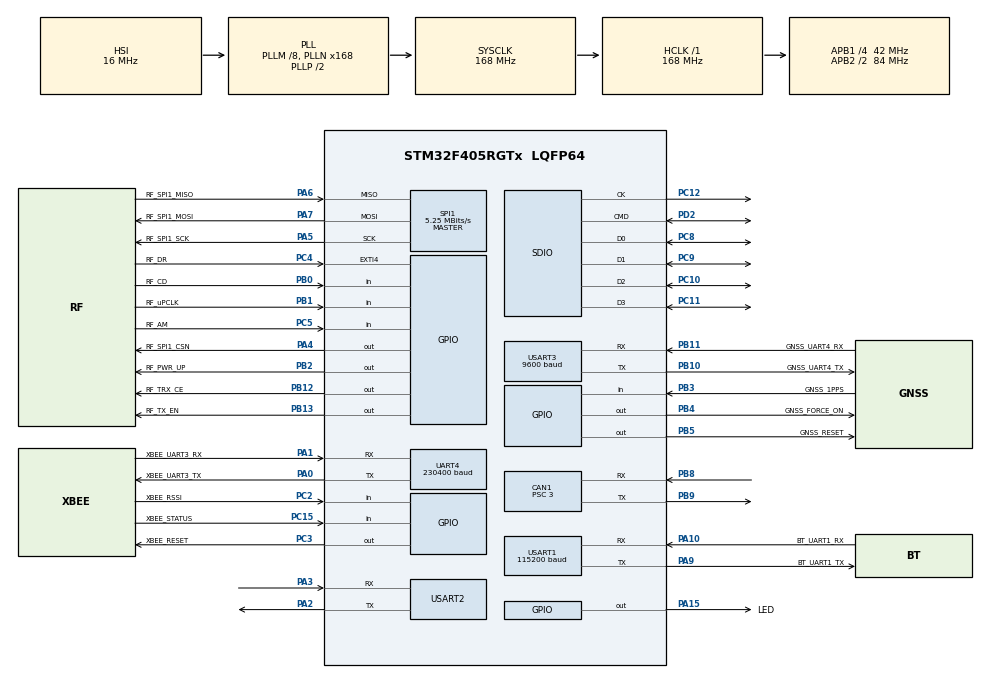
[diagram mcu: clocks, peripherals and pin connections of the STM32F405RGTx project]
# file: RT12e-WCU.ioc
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Dma.ADC1.4.FIFOMode=DMA_FIFOMODE_DISABLE
FREERTOS.Queues01=wcuEventQueue,128,SWcuEvent,0,Dynamic,NULL,NULL;canMessagesQueue,64,SCanMessage,0,Dynamic,NULL,NULL
NVIC.CAN1_RX1_IRQn=true\:5\:0\:false\:false\:true\:true\:true\:true
CAN1.NART=DISABLE
Dma.ADC1.4.Priority=DMA_PRIORITY_LOW
VP_SYS_VS_tim6.Mode=TIM6
SPI1.VirtualType=VM_MASTER
PB10.Mode=Asynchronous
VP_ADC1_TempSens_Input.Mode=IN-TempSens
NVIC.TIM6_DAC_IRQn=true\:0\:0\:false\:false\:true\:false\:false\:true
VP_FATFS_VS_SDIO.Mode=SDIO
NVIC.DMA1_Stream2_IRQn=true\:0\:0\:true\:false\:true\:false\:false\:true
PC12.Signal=SDIO_CK
Dma.SDIO_RX.1.Direction=DMA_PERIPH_TO_MEMORY
Dma.SDIO_RX.1.Priority=DMA_PRIORITY_LOW
PA6.GPIO_Label=RF_SPI1_MISO
PB13.Signal=GPIO_Output
Dma.ADC1.4.PeriphInc=DMA_PINC_DISABLE
PC15-OSC32_OUT.GPIO_Label=XBEE_STATUS
RCC.SYSCLKSource=RCC_SYSCLKSOURCE_PLLCLK
Dma.SDIO_RX.1.Instance=DMA2_Stream3
Dma.USART2_TX.6.Direction=DMA_MEMORY_TO_PERIPH
Dma.SDIO_TX.2.MemDataAlignment=DMA_MDATAALIGN_WORD
USART3.BaudRate=9600
SPI1.Direction=SPI_DIRECTION_2LINES
RCC.APB2TimFreq_Value=168000000
Dma.SDIO_RX.1.FIFOMode=DMA_FIFOMODE_ENABLE
SPI1.CalculateBaudRate=5.25 MBits/s
PC3.Signal=GPIO_Output
Dma.ADC1.4.Instance=DMA2_Stream4
FREERTOS.configMINIMAL_STACK_SIZE=128
NVIC.TIM1_TRG_COM_TIM11_IRQn=true\:5\:0\:false\:false\:true\:true\:true\:true
NVIC.TIM8_TRG_COM_TIM14_IRQn=true\:5\:0\:false\:false\:true\:true\:true\:true
PB2.Signal=GPIO_Output
CAN1.RFLM=DISABLE
PB12.GPIO_Label=RF_TRX_CE
Dma.UART4_TX.7.PeriphDataAlignment=DMA_PDATAALIGN_BYTE
PC4.GPIO_Label=RF_DR
PB1.GPIO_Label=RF_uPCLK
PC9.Mode=SD_4_bits_Wide_bus
VP_FREERTOS_VS_CMSIS_V1.Mode=CMSIS_V1
Dma.UART4_TX.7.MemInc=DMA_MINC_ENABLE
ADC1.SamplingTime-0\#ChannelRegularConversion=ADC_SAMPLETIME_3CYCLES
CAN1.Prescaler=3
Mcu.Package=LQFP64
PB9.Signal=CAN1_TX
PB1.Signal=GPIO_Input
FREERTOS.configUSE_NEWLIB_REENTRANT=0
CAN1.TTCM=DISABLE
Dma.USART2_TX.6.PeriphDataAlignment=DMA_PDATAALIGN_BYTE
NVIC.TimeBase=TIM6_DAC_IRQn
NVIC.TimeBaseIP=TIM6
PA10.Signal=USART1_RX
Dma.ADC1.4.MemInc=DMA_MINC_ENABLE
PC11.Mode=SD_4_bits_Wide_bus
RCC.APB2CLKDivider=RCC_HCLK_DIV2
NVIC.DMA2_Stream2_IRQn=true\:0\:0\:true\:false\:true\:false\:false\:true
RCC.APB1TimFreq_Value=84000000
FREERTOS.configGENERATE_RUN_TIME_STATS=0
VP_TIM14_VS_ClockSourceINT.Mode=Enable_Timer
NVIC.USART1_IRQn=true\:5\:0\:true\:false\:true\:true\:true\:true
NVIC.DMA1_Stream6_IRQn=true\:5\:0\:false\:false\:true\:true\:false\:true
CAN1.CalculateTimeBit=999.99
PA4.GPIO_Label=RF_SPI1_CSN
Dma.SDIO_TX.2.FIFOThreshold=DMA_FIFO_THRESHOLD_FULL
Dma.UART4_RX.3.MemInc=DMA_MINC_ENABLE
CAN1.CalculateTimeQuantum=71.42857142857143
NVIC.UART4_IRQn=true\:5\:0\:true\:false\:true\:true\:true\:true
PA5.Mode=Full_Duplex_Master
Dma.USART2_TX.6.MemInc=DMA_MINC_ENABLE
Dma.SDIO_TX.2.MemInc=DMA_MINC_ENABLE
NVIC.EXTI4_IRQn=true\:5\:0\:true\:false\:true\:true\:true\:true
FREERTOS.Tasks01=EventDispatcher,0,8192,WcuEventDispatcherEntryPoint,As weak,NULL,Dynamic,NULL,NULL
ADC1.Rank-0\#ChannelRegularConversion=1
Dma.UART4_RX.3.PeriphInc=DMA_PINC_DISABLE
PA9.GPIO_Label=BT_UART1_TX
FREERTOS.configCHECK_FOR_STACK_OVERFLOW=0
CAN1.CalculateBaudRate=1000000
PC2.Signal=GPIO_Input
PB11.GPIO_Label=GNSS_UART4_RX
TIM11.Prescaler=419
Dma.UART4_TX.7.MemDataAlignment=DMA_MDATAALIGN_BYTE
RCC.APB1CLKDivider=RCC_HCLK_DIV4
UART4.VirtualMode=Asynchronous
PA0-WKUP.GPIO_Label=XBEE_UART3_TX
PA0-WKUP.Signal=UART4_TX
PA0-WKUP.Mode=Asynchronous
PA3.Mode=Asynchronous
PB11.Mode=Asynchronous
Dma.USART1_RX.0.Direction=DMA_PERIPH_TO_MEMORY
PA9.Signal=USART1_TX
Dma.SDIO_TX.2.PeriphDataAlignment=DMA_PDATAALIGN_WORD
SDIO.ClockDiv=4
NVIC.DMA2_Stream6_IRQn=true\:5\:0\:true\:false\:true\:true\:false\:true
Dma.USART3_RX.5.PeriphInc=DMA_PINC_DISABLE
Dma.USART1_RX.0.PeriphInc=DMA_PINC_DISABLE
PB10.Signal=USART3_TX
Dma.SDIO_RX.1.FIFOThreshold=DMA_FIFO_THRESHOLD_FULL
PA5.Signal=SPI1_SCK
PC12.Mode=SD_4_bits_Wide_bus
Dma.SDIO_RX.1.MemBurst=DMA_MBURST_INC4
TIM13.Period=39999
VP_TIM13_VS_ClockSourceINT.Mode=Enable_Timer
PA1.Mode=Asynchronous
PB4.GPIO_Label=GNSS_FORCE_ON
TIM13.Prescaler=4199
SPI1.Mode=SPI_MODE_MASTER
PA1.GPIO_Label=XBEE_UART3_RX
Dma.UART4_RX.3.Instance=DMA1_Stream2
Dma.ADC1.4.Mode=DMA_NORMAL
ADC1.DMAContinuousRequests=ENABLE
PA13.Mode=Serial_Wire
Dma.ADC1.4.MemDataAlignment=DMA_MDATAALIGN_HALFWORD
NVIC.DMA2_Stream4_IRQn=true\:5\:0\:true\:false\:true\:true\:false\:true
TIM14.Prescaler=27999
Dma.SDIO_TX.2.Priority=DMA_PRIORITY_LOW
CAN1.SJW=CAN_SJW_1TQ
PC8.Mode=SD_4_bits_Wide_bus
PA4.Signal=GPIO_Output
PB5.Signal=GPIO_Output
ADC1.master=1
Dma.USART2_TX.6.PeriphInc=DMA_PINC_DISABLE
PA5.GPIO_Label=RF_SPI1_SCK
USART1.VirtualMode=VM_ASYNC
Dma.SDIO_TX.2.MemBurst=DMA_MBURST_INC4
ProjectManager.HeapSize=0x200
Dma.SDIO_RX.1.MemInc=DMA_MINC_ENABLE
Dma.UART4_TX.7.Instance=DMA1_Stream4
NVIC.TIM8_UP_TIM13_IRQn=true\:5\:0\:false\:false\:true\:true\:true\:true
NVIC.PriorityGroup=NVIC_PRIORITYGROUP_4
Dma.USART2_TX.6.Priority=DMA_PRIORITY_LOW
PB8.Mode=CAN_Activate
PC3.GPIO_Label=XBEE_RESET
Dma.SDIO_TX.2.PeriphInc=DMA_PINC_DISABLE
PD2.Signal=SDIO_CMD
Dma.UART4_TX.7.FIFOMode=DMA_FIFOMODE_DISABLE
PB0.Signal=GPIO_Input
NVIC.CAN1_RX0_IRQn=true\:5\:0\:false\:false\:true\:true\:true\:true
Mcu.Family=STM32F4
NVIC.USART3_IRQn=true\:5\:0\:true\:false\:true\:true\:true\:true
Dma.UART4_RX.3.Priority=DMA_PRIORITY_LOW
Dma.UART4_RX.3.FIFOMode=DMA_FIFOMODE_DISABLE
Dma.USART3_RX.5.PeriphDataAlignment=DMA_PDATAALIGN_BYTE
PA6.Mode=Full_Duplex_Master
RCC.CortexFreq_Value=168000000
Dma.SDIO_RX.1.PeriphDataAlignment=DMA_PDATAALIGN_WORD
CAN1.AWUM=DISABLE
USART1.BaudRate=115200
PC10.Signal=SDIO_D2
VP_IWDG_VS_IWDG.Mode=IWDG_Activate
Dma.SDIO_RX.1.Mode=DMA_PFCTRL
Dma.UART4_RX.3.PeriphDataAlignment=DMA_PDATAALIGN_BYTE
PB0.GPIO_Label=RF_CD
Dma.UART4_RX.3.Mode=DMA_CIRCULAR
PB13.GPIO_Label=RF_TX_EN
PB11.Signal=USART3_RX
NVIC.DMA1_Stream4_IRQn=true\:5\:0\:false\:false\:true\:true\:false\:true
ProjectManager.StackSize=0x400
Dma.UART4_RX.3.Direction=DMA_PERIPH_TO_MEMORY
Dma.SDIO_TX.2.Mode=DMA_PFCTRL
VP_TIM7_VS_ClockSourceINT.Mode=Enable_Timer
Dma.USART3_RX.5.MemInc=DMA_MINC_ENABLE
NVIC.ADC_IRQn=true\:5\:0\:true\:false\:true\:true\:true\:true
PA15.GPIO_Label=LED
Dma.USART2_TX.6.MemDataAlignment=DMA_MDATAALIGN_BYTE
FREERTOS.configUSE_STATS_FORMATTING_FUNCTIONS=0
UART4.BaudRate=230400
RCC.HCLKFreq_Value=168000000
TIM7.Period=39999
NVIC.CAN1_SCE_IRQn=true\:5\:0\:false\:false\:true\:true\:true\:true
RCC.AHBFreq_Value=168000000
Dma.USART1_RX.0.Priority=DMA_PRIORITY_LOW
ADC1.Channel-0\#ChannelRegularConversion=ADC_CHANNEL_TEMPSENSOR
RCC.HSE_VALUE=25000000
TIM14.Period=59999
PA14.Mode=Serial_Wire
PA10.GPIO_Label=BT_UART1_RX
Dma.SDIO_TX.2.Direction=DMA_MEMORY_TO_PERIPH
Dma.USART1_RX.0.MemInc=DMA_MINC_ENABLE
FREERTOS.configTOTAL_HEAP_SIZE=65536
PA6.Signal=SPI1_MISO
USART2.VirtualMode=VM_ASYNC
Dma.USART3_RX.5.Priority=DMA_PRIORITY_LOW
Dma.SDIO_TX.2.PeriphBurst=DMA_PBURST_INC4
PA15.Signal=GPIO_Output
Dma.SDIO_RX.1.PeriphBurst=DMA_PBURST_INC4
Dma.USART2_TX.6.Mode=DMA_NORMAL
Dma.USART1_RX.0.FIFOMode=DMA_FIFOMODE_DISABLE
PB5.GPIO_Label=GNSS_RESET
Dma.Request2=SDIO_TX
Dma.Request1=SDIO_RX
Dma.Request4=ADC1
Dma.UART4_TX.7.PeriphInc=DMA_PINC_DISABLE
Dma.Request3=UART4_RX
Dma.Request6=USART2_TX
Dma.USART1_RX.0.Mode=DMA_CIRCULAR
Dma.Request5=USART3_RX
PC5.Signal=GPIO_Input
Dma.Request7=UART4_TX
Dma.Request0=USART1_RX
SPI1.BaudRatePrescaler=SPI_BAUDRATEPRESCALER_16
PB4.PinState=GPIO_PIN_SET
PC2.GPIO_Label=XBEE_RSSI
Dma.USART1_RX.0.Instance=DMA2_Stream2
NVIC.TIM7_IRQn=true\:5\:0\:true\:false\:true\:true\:true\:true
PB4.Signal=GPIO_Output
PA3.Signal=USART2_RX
PB3.GPIO_Label=GNSS_1PPS
Dma.UART4_TX.7.Mode=DMA_NORMAL
PA7.Mode=Full_Duplex_Master
Dma.USART1_RX.0.PeriphDataAlignment=DMA_PDATAALIGN_BYTE
PA10.Mode=Asynchronous
PC11.Signal=SDIO_D3
PC8.Signal=SDIO_D0
PC4.Signal=GPXTI4
PC10.Mode=SD_4_bits_Wide_bus
Dma.ADC1.4.PeriphDataAlignment=DMA_PDATAALIGN_HALFWORD
Dma.USART3_RX.5.Instance=DMA1_Stream1
Dma.SDIO_TX.2.Instance=DMA2_Stream6
NVIC.DMA1_Stream1_IRQn=true\:0\:0\:true\:false\:true\:false\:false\:true
Dma.UART4_RX.3.MemDataAlignment=DMA_MDATAALIGN_BYTE
NVIC.USART2_IRQn=true\:5\:0\:false\:false\:true\:true\:true\:true
NVIC.SDIO_IRQn=true\:5\:0\:true\:false\:true\:true\:true\:true
VP_TIM11_VS_ClockSourceINT.Mode=Enable_Timer
Dma.SDIO_RX.1.PeriphInc=DMA_PINC_DISABLE
PA13.Signal=SYS_JTMS-SWDIO
Dma.USART2_TX.6.FIFOMode=DMA_FIFOMODE_DISABLE
PA9.Mode=Asynchronous
Dma.UART4_TX.7.Priority=DMA_PRIORITY_LOW
PA4.PinState=GPIO_PIN_SET
CAN1.BS2=CAN_BS2_2TQ
CAN1.BS1=CAN_BS1_11TQ
ProjectManager.TargetToolchain=STM32CubeIDE
PB10.GPIO_Label=GNSS_UART4_TX
Dma.USART3_RX.5.FIFOMode=DMA_FIFOMODE_DISABLE
PB9.Mode=CAN_Activate
NVIC.DMA2_Stream3_IRQn=true\:5\:0\:true\:false\:true\:true\:false\:true
RCC.LSE_VALUE=32768
PC15-OSC32_OUT.Signal=GPIO_Input
PA1.Signal=UART4_RX
CAN1.ABOM=DISABLE
Dma.SDIO_RX.1.MemDataAlignment=DMA_MDATAALIGN_WORD
PD2.Mode=SD_4_bits_Wide_bus
TIM7.Prescaler=4199
board=custom
Dma.USART3_RX.5.Direction=DMA_PERIPH_TO_MEMORY
RCC.VCOOutputFreq_Value=336000000
TIM11.Period=39999
RCC.APB2Freq_Value=84000000
Dma.USART1_RX.0.MemDataAlignment=DMA_MDATAALIGN_BYTE
Dma.USART2_TX.6.Instance=DMA1_Stream6
Mcu.Name=STM32F405RGTx
PB2.PinState=GPIO_PIN_RESET
PA2.Signal=USART2_TX
FATFS._MAX_SS=4096
RCC.48MHZClocksFreq_Value=48000000
PB3.Signal=GPIO_Input
RCC.SYSCLKFreq_VALUE=168000000
PA7.GPIO_Label=RF_SPI1_MOSI
PC5.GPIO_Label=RF_AM
USART3.VirtualMode=VM_ASYNC
PA14.Signal=SYS_JTCK-SWCLK
PB2.GPIO_Label=RF_PWR_UP
Dma.USART3_RX.5.Mode=DMA_CIRCULAR
Dma.SDIO_TX.2.FIFOMode=DMA_FIFOMODE_ENABLE
Dma.ADC1.4.Direction=DMA_PERIPH_TO_MEMORY
RCC.HSI_VALUE=16000000
RCC.PLLQ=7
ADC1.NbrOfConversionFlag=1
Dma.UART4_TX.7.Direction=DMA_MEMORY_TO_PERIPH
RCC.PLLM=8
RCC.PLLN=168
IWDG.Prescaler=IWDG_PRESCALER_256
PA2.Mode=Asynchronous
PB8.Signal=CAN1_RX
Dma.USART3_RX.5.MemDataAlignment=DMA_MDATAALIGN_BYTE
PC9.Signal=SDIO_D1
RCC.APB1Freq_Value=42000000
VP_CRC_VS_CRC.Mode=CRC_Activate
PB12.Signal=GPIO_Output
PA7.Signal=SPI1_MOSI

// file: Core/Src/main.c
/* USER CODE BEGIN Header */
/**
 ******************************************************************************
 * @file           : main.c
 * @brief          : Main program body
 ******************************************************************************
 * @attention
 *
 * <h2><center>&copy; Copyright (c) 2020 STMicroelectronics.
 * All rights reserved.</center></h2>
 *
 * This software component is licensed by ST under BSD 3-Clause license,
 * the "License"; You may not use this file except in compliance with the
 * License. You may obtain a copy of the License at:
 *                        opensource.org/licenses/BSD-3-Clause
 *
 ******************************************************************************
 */
/* USER CODE END Header */
#include "main.h"
#include "cmsis_os.h"
#include "fatfs.h"

/* USER CODE BEGIN Includes */

#include "wcu_defs.h"
#include "wcu_events.h"
#include "wcu_can.h"

/* USER CODE END Includes */

ADC_HandleTypeDef hadc1;
DMA_HandleTypeDef hdma_adc1;

CAN_HandleTypeDef hcan1;

CRC_HandleTypeDef hcrc;

IWDG_HandleTypeDef hiwdg;

SD_HandleTypeDef hsd;
DMA_HandleTypeDef hdma_sdio_rx;
DMA_HandleTypeDef hdma_sdio_tx;

SPI_HandleTypeDef hspi1;

TIM_HandleTypeDef htim7;
TIM_HandleTypeDef htim11;
TIM_HandleTypeDef htim13;
TIM_HandleTypeDef htim14;

UART_HandleTypeDef huart4;
UART_HandleTypeDef huart1;
UART_HandleTypeDef huart2;
UART_HandleTypeDef huart3;
DMA_HandleTypeDef hdma_uart4_rx;
DMA_HandleTypeDef hdma_uart4_tx;
DMA_HandleTypeDef hdma_usart1_rx;
DMA_HandleTypeDef hdma_usart2_tx;
DMA_HandleTypeDef hdma_usart3_rx;

osThreadId EventDispatcherHandle;
osMessageQId wcuEventQueueHandle;
osMessageQId canMessagesQueueHandle;

void SystemClock_Config(void);
static void MX_GPIO_Init(void);
static void MX_DMA_Init(void);
static void MX_CAN1_Init(void);
static void MX_CRC_Init(void);
static void MX_IWDG_Init(void);
static void MX_SDIO_SD_Init(void);
static void MX_SPI1_Init(void);
static void MX_UART4_Init(void);
static void MX_USART1_UART_Init(void);
static void MX_USART2_UART_Init(void);
static void MX_USART3_UART_Init(void);
static void MX_ADC1_Init(void);
static void MX_TIM7_Init(void);
static void MX_TIM11_Init(void);
static void MX_TIM13_Init(void);
static void MX_TIM14_Init(void);
void WcuEventDispatcherEntryPoint(void const *argument);

int main(void) {

	/* MCU Configuration--------------------------------------------------------*/

	/* Reset of all peripherals, Initializes the Flash interface and the Systick. */
	HAL_Init();

	/* Configure the system clock */
	SystemClock_Config();

	/* Initialize all configured peripherals */
	MX_GPIO_Init();
	MX_DMA_Init();
	MX_CAN1_Init();
	MX_CRC_Init();
	MX_IWDG_Init();
	MX_SDIO_SD_Init();
	MX_SPI1_Init();
	MX_UART4_Init();
	MX_USART1_UART_Init();
	MX_USART2_UART_Init();
	MX_USART3_UART_Init();
	MX_FATFS_Init();
	MX_ADC1_Init();
	MX_TIM7_Init();
	MX_TIM11_Init();
	MX_TIM13_Init();
	MX_TIM14_Init();

	/* Create the queue(s) */
	/* definition and creation of wcuEventQueue */
	osMessageQDef(wcuEventQueue, 128, SWcuEvent);
	wcuEventQueueHandle = osMessageCreate(osMessageQ(wcuEventQueue), NULL);

	/* definition and creation of canMessagesQueue */
	osMessageQDef(canMessagesQueue, 64, SCanMessage);
	canMessagesQueueHandle = osMessageCreate(osMessageQ(canMessagesQueue),
			NULL);

	/* Create the thread(s) */
	/* definition and creation of EventDispatcher */
	osThreadDef(EventDispatcher, WcuEventDispatcherEntryPoint, osPriorityNormal,
			0, 8192);
	EventDispatcherHandle = osThreadCreate(osThread(EventDispatcher), NULL);

	/* Start scheduler */
	osKernelStart();

	/* We should never get here as control is now taken by the scheduler */
	/* Infinite loop */
	while (1) {

	}
}

void SystemClock_Config(void) {
	RCC_OscInitTypeDef RCC_OscInitStruct = { 0 };
	RCC_ClkInitTypeDef RCC_ClkInitStruct = { 0 };

	/** Configure the main internal regulator output voltage
	 */
	__HAL_RCC_PWR_CLK_ENABLE();
	__HAL_PWR_VOLTAGESCALING_CONFIG(PWR_REGULATOR_VOLTAGE_SCALE1);
	/** Initializes the RCC Oscillators according to the specified parameters
	 * in the RCC_OscInitTypeDef structure.
	 */
	RCC_OscInitStruct.OscillatorType = RCC_OSCILLATORTYPE_HSI
			| RCC_OSCILLATORTYPE_LSI;
	RCC_OscInitStruct.HSIState = RCC_HSI_ON;
	RCC_OscInitStruct.HSICalibrationValue = RCC_HSICALIBRATION_DEFAULT;
	RCC_OscInitStruct.LSIState = RCC_LSI_ON;
	RCC_OscInitStruct.PLL.PLLState = RCC_PLL_ON;
	RCC_OscInitStruct.PLL.PLLSource = RCC_PLLSOURCE_HSI;
	RCC_OscInitStruct.PLL.PLLM = 8;
	RCC_OscInitStruct.PLL.PLLN = 168;
	RCC_OscInitStruct.PLL.PLLP = RCC_PLLP_DIV2;
	RCC_OscInitStruct.PLL.PLLQ = 7;
	if (HAL_RCC_OscConfig(&RCC_OscInitStruct) != HAL_OK) {
		Error_Handler();
	}
	/** Initializes the CPU, AHB and APB buses clocks
	 */
	RCC_ClkInitStruct.ClockType = RCC_CLOCKTYPE_HCLK | RCC_CLOCKTYPE_SYSCLK
			| RCC_CLOCKTYPE_PCLK1 | RCC_CLOCKTYPE_PCLK2;
	RCC_ClkInitStruct.SYSCLKSource = RCC_SYSCLKSOURCE_PLLCLK;
	RCC_ClkInitStruct.AHBCLKDivider = RCC_SYSCLK_DIV1;
	RCC_ClkInitStruct.APB1CLKDivider = RCC_HCLK_DIV4;
	RCC_ClkInitStruct.APB2CLKDivider = RCC_HCLK_DIV2;

	if (HAL_RCC_ClockConfig(&RCC_ClkInitStruct, FLASH_LATENCY_5) != HAL_OK) {
		Error_Handler();
	}
}

static void MX_ADC1_Init(void) {

	ADC_ChannelConfTypeDef sConfig = { 0 };

	/** Configure the global features of the ADC (Clock, Resolution, Data Alignment and number of conversion)
	 */
	hadc1.Instance = ADC1;
	hadc1.Init.ClockPrescaler = ADC_CLOCK_SYNC_PCLK_DIV4;
	hadc1.Init.Resolution = ADC_RESOLUTION_12B;
	hadc1.Init.ScanConvMode = DISABLE;
	hadc1.Init.ContinuousConvMode = DISABLE;
	hadc1.Init.DiscontinuousConvMode = DISABLE;
	hadc1.Init.ExternalTrigConvEdge = ADC_EXTERNALTRIGCONVEDGE_NONE;
	hadc1.Init.ExternalTrigConv = ADC_SOFTWARE_START;
	hadc1.Init.DataAlign = ADC_DATAALIGN_RIGHT;
	hadc1.Init.NbrOfConversion = 1;
	hadc1.Init.DMAContinuousRequests = ENABLE;
	hadc1.Init.EOCSelection = ADC_EOC_SINGLE_CONV;
	if (HAL_ADC_Init(&hadc1) != HAL_OK) {
		Error_Handler();
	}
	/** Configure for the selected ADC regular channel its corresponding rank in the sequencer and its sample time.
	 */
	sConfig.Channel = ADC_CHANNEL_TEMPSENSOR;
	sConfig.Rank = 1;
	sConfig.SamplingTime = ADC_SAMPLETIME_3CYCLES;
	if (HAL_ADC_ConfigChannel(&hadc1, &sConfig) != HAL_OK) {
		Error_Handler();
	}

}

static void MX_CAN1_Init(void) {

	hcan1.Instance = CAN1;
	hcan1.Init.Prescaler = 3;
	hcan1.Init.Mode = CAN_MODE_NORMAL;
	hcan1.Init.SyncJumpWidth = CAN_SJW_1TQ;
	hcan1.Init.TimeSeg1 = CAN_BS1_11TQ;
	hcan1.Init.TimeSeg2 = CAN_BS2_2TQ;
	hcan1.Init.TimeTriggeredMode = DISABLE;
	hcan1.Init.AutoBusOff = DISABLE;
	hcan1.Init.AutoWakeUp = DISABLE;
	hcan1.Init.AutoRetransmission = DISABLE;
	hcan1.Init.ReceiveFifoLocked = DISABLE;
	hcan1.Init.TransmitFifoPriority = DISABLE;
	if (HAL_CAN_Init(&hcan1) != HAL_OK) {
		Error_Handler();
	}

}

static void MX_CRC_Init(void) {

	hcrc.Instance = CRC;
	if (HAL_CRC_Init(&hcrc) != HAL_OK) {
		Error_Handler();
	}

}

static void MX_IWDG_Init(void) {

	hiwdg.Instance = IWDG;
	hiwdg.Init.Prescaler = IWDG_PRESCALER_256;
	hiwdg.Init.Reload = 4095;
	if (HAL_IWDG_Init(&hiwdg) != HAL_OK) {
		Error_Handler();
	}

}

static void MX_SDIO_SD_Init(void) {

	hsd.Instance = SDIO;
	hsd.Init.ClockEdge = SDIO_CLOCK_EDGE_RISING;
	hsd.Init.ClockBypass = SDIO_CLOCK_BYPASS_DISABLE;
	hsd.Init.ClockPowerSave = SDIO_CLOCK_POWER_SAVE_DISABLE;
	hsd.Init.BusWide = SDIO_BUS_WIDE_1B;
	hsd.Init.HardwareFlowControl = SDIO_HARDWARE_FLOW_CONTROL_DISABLE;
	hsd.Init.ClockDiv = 4;

}

static void MX_SPI1_Init(void) {

	/* SPI1 parameter configuration*/
	hspi1.Instance = SPI1;
	hspi1.Init.Mode = SPI_MODE_MASTER;
	hspi1.Init.Direction = SPI_DIRECTION_2LINES;
	hspi1.Init.DataSize = SPI_DATASIZE_8BIT;
	hspi1.Init.CLKPolarity = SPI_POLARITY_LOW;
	hspi1.Init.CLKPhase = SPI_PHASE_1EDGE;
	hspi1.Init.NSS = SPI_NSS_SOFT;
	hspi1.Init.BaudRatePrescaler = SPI_BAUDRATEPRESCALER_16;
	hspi1.Init.FirstBit = SPI_FIRSTBIT_MSB;
	hspi1.Init.TIMode = SPI_TIMODE_DISABLE;
	hspi1.Init.CRCCalculation = SPI_CRCCALCULATION_DISABLE;
	hspi1.Init.CRCPolynomial = 10;
	if (HAL_SPI_Init(&hspi1) != HAL_OK) {
		Error_Handler();
	}

}

static void MX_TIM7_Init(void) {

	TIM_MasterConfigTypeDef sMasterConfig = { 0 };

	htim7.Instance = TIM7;
	htim7.Init.Prescaler = 4199;
	htim7.Init.CounterMode = TIM_COUNTERMODE_UP;
	htim7.Init.Period = 39999;
	htim7.Init.AutoReloadPreload = TIM_AUTORELOAD_PRELOAD_DISABLE;
	if (HAL_TIM_Base_Init(&htim7) != HAL_OK) {
		Error_Handler();
	}
	sMasterConfig.MasterOutputTrigger = TIM_TRGO_RESET;
	sMasterConfig.MasterSlaveMode = TIM_MASTERSLAVEMODE_DISABLE;
	if (HAL_TIMEx_MasterConfigSynchronization(&htim7, &sMasterConfig)
			!= HAL_OK) {
		Error_Handler();
	}

}

static void MX_TIM11_Init(void) {

	htim11.Instance = TIM11;
	htim11.Init.Prescaler = 419;
	htim11.Init.CounterMode = TIM_COUNTERMODE_UP;
	htim11.Init.Period = 39999;
	htim11.Init.ClockDivision = TIM_CLOCKDIVISION_DIV1;
	htim11.Init.AutoReloadPreload = TIM_AUTORELOAD_PRELOAD_DISABLE;
	if (HAL_TIM_Base_Init(&htim11) != HAL_OK) {
		Error_Handler();
	}

}

static void MX_TIM13_Init(void) {

	htim13.Instance = TIM13;
	htim13.Init.Prescaler = 4199;
	htim13.Init.CounterMode = TIM_COUNTERMODE_UP;
	htim13.Init.Period = 39999;
	htim13.Init.ClockDivision = TIM_CLOCKDIVISION_DIV1;
	htim13.Init.AutoReloadPreload = TIM_AUTORELOAD_PRELOAD_DISABLE;
	if (HAL_TIM_Base_Init(&htim13) != HAL_OK) {
		Error_Handler();
	}

}

static void MX_TIM14_Init(void) {

	htim14.Instance = TIM14;
	htim14.Init.Prescaler = 27999;
	htim14.Init.CounterMode = TIM_COUNTERMODE_UP;
	htim14.Init.Period = 59999;
	htim14.Init.ClockDivision = TIM_CLOCKDIVISION_DIV1;
	htim14.Init.AutoReloadPreload = TIM_AUTORELOAD_PRELOAD_DISABLE;
	if (HAL_TIM_Base_Init(&htim14) != HAL_OK) {
		Error_Handler();
	}

}

static void MX_UART4_Init(void) {

	huart4.Instance = UART4;
	huart4.Init.BaudRate = 230400;
	huart4.Init.WordLength = UART_WORDLENGTH_8B;
	huart4.Init.StopBits = UART_STOPBITS_1;
	huart4.Init.Parity = UART_PARITY_NONE;
	huart4.Init.Mode = UART_MODE_TX_RX;
	huart4.Init.HwFlowCtl = UART_HWCONTROL_NONE;
	huart4.Init.OverSampling = UART_OVERSAMPLING_16;
	if (HAL_UART_Init(&huart4) != HAL_OK) {
		Error_Handler();
	}

}

static void MX_USART1_UART_Init(void) {

	huart1.Instance = USART1;
	huart1.Init.BaudRate = 115200;
	huart1.Init.WordLength = UART_WORDLENGTH_8B;
	huart1.Init.StopBits = UART_STOPBITS_1;
	huart1.Init.Parity = UART_PARITY_NONE;
	huart1.Init.Mode = UART_MODE_TX_RX;
	huart1.Init.HwFlowCtl = UART_HWCONTROL_NONE;
	huart1.Init.OverSampling = UART_OVERSAMPLING_16;
	if (HAL_UART_Init(&huart1) != HAL_OK) {
		Error_Handler();
	}

}

static void MX_USART2_UART_Init(void) {

	huart2.Instance = USART2;
	huart2.Init.BaudRate = 115200;
	huart2.Init.WordLength = UART_WORDLENGTH_8B;
	huart2.Init.StopBits = UART_STOPBITS_1;
	huart2.Init.Parity = UART_PARITY_NONE;
	huart2.Init.Mode = UART_MODE_TX_RX;
	huart2.Init.HwFlowCtl = UART_HWCONTROL_NONE;
	huart2.Init.OverSampling = UART_OVERSAMPLING_16;
	if (HAL_UART_Init(&huart2) != HAL_OK) {
		Error_Handler();
	}

}

static void MX_USART3_UART_Init(void) {

	huart3.Instance = USART3;
	huart3.Init.BaudRate = 9600;
	huart3.Init.WordLength = UART_WORDLENGTH_8B;
	huart3.Init.StopBits = UART_STOPBITS_1;
	huart3.Init.Parity = UART_PARITY_NONE;
	huart3.Init.Mode = UART_MODE_TX_RX;
	huart3.Init.HwFlowCtl = UART_HWCONTROL_NONE;
	huart3.Init.OverSampling = UART_OVERSAMPLING_16;
	if (HAL_UART_Init(&huart3) != HAL_OK) {
		Error_Handler();
	}

}

static void MX_DMA_Init(void) {

	/* DMA controller clock enable */
	__HAL_RCC_DMA2_CLK_ENABLE();
	__HAL_RCC_DMA1_CLK_ENABLE();

	/* DMA interrupt init */
	/* DMA1_Stream1_IRQn interrupt configuration */
	HAL_NVIC_SetPriority(DMA1_Stream1_IRQn, 0, 0);
	HAL_NVIC_EnableIRQ(DMA1_Stream1_IRQn);
	/* DMA1_Stream2_IRQn interrupt configuration */
	HAL_NVIC_SetPriority(DMA1_Stream2_IRQn, 0, 0);
	HAL_NVIC_EnableIRQ(DMA1_Stream2_IRQn);
	/* DMA1_Stream4_IRQn interrupt configuration */
	HAL_NVIC_SetPriority(DMA1_Stream4_IRQn, 5, 0);
	HAL_NVIC_EnableIRQ(DMA1_Stream4_IRQn);
	/* DMA1_Stream6_IRQn interrupt configuration */
	HAL_NVIC_SetPriority(DMA1_Stream6_IRQn, 5, 0);
	HAL_NVIC_EnableIRQ(DMA1_Stream6_IRQn);
	/* DMA2_Stream2_IRQn interrupt configuration */
	HAL_NVIC_SetPriority(DMA2_Stream2_IRQn, 0, 0);
	HAL_NVIC_EnableIRQ(DMA2_Stream2_IRQn);
	/* DMA2_Stream3_IRQn interrupt configuration */
	HAL_NVIC_SetPriority(DMA2_Stream3_IRQn, 5, 0);
	HAL_NVIC_EnableIRQ(DMA2_Stream3_IRQn);
	/* DMA2_Stream4_IRQn interrupt configuration */
	HAL_NVIC_SetPriority(DMA2_Stream4_IRQn, 5, 0);
	HAL_NVIC_EnableIRQ(DMA2_Stream4_IRQn);
	/* DMA2_Stream6_IRQn interrupt configuration */
	HAL_NVIC_SetPriority(DMA2_Stream6_IRQn, 5, 0);
	HAL_NVIC_EnableIRQ(DMA2_Stream6_IRQn);

}

static void MX_GPIO_Init(void) {
	GPIO_InitTypeDef GPIO_InitStruct = { 0 };

	/* GPIO Ports Clock Enable */
	__HAL_RCC_GPIOC_CLK_ENABLE();
	__HAL_RCC_GPIOA_CLK_ENABLE();
	__HAL_RCC_GPIOB_CLK_ENABLE();
	__HAL_RCC_GPIOD_CLK_ENABLE();

	/*Configure GPIO pin Output Level */
	HAL_GPIO_WritePin(XBEE_RESET_GPIO_Port, XBEE_RESET_Pin, GPIO_PIN_RESET);

	/*Configure GPIO pin Output Level */
	HAL_GPIO_WritePin(RF_SPI1_CSN_GPIO_Port, RF_SPI1_CSN_Pin, GPIO_PIN_SET);

	/*Configure GPIO pin Output Level */
	HAL_GPIO_WritePin(GPIOB,
			RF_PWR_UP_Pin | RF_TRX_CE_Pin | RF_TX_EN_Pin | GNSS_RESET_Pin,
			GPIO_PIN_RESET);

	/*Configure GPIO pin Output Level */
	HAL_GPIO_WritePin(LED_GPIO_Port, LED_Pin, GPIO_PIN_RESET);

	/*Configure GPIO pin Output Level */
	HAL_GPIO_WritePin(GNSS_FORCE_ON_GPIO_Port, GNSS_FORCE_ON_Pin, GPIO_PIN_SET);

	/*Configure GPIO pins : XBEE_STATUS_Pin XBEE_RSSI_Pin RF_AM_Pin */
	GPIO_InitStruct.Pin = XBEE_STATUS_Pin | XBEE_RSSI_Pin | RF_AM_Pin;
	GPIO_InitStruct.Mode = GPIO_MODE_INPUT;
	GPIO_InitStruct.Pull = GPIO_NOPULL;
	HAL_GPIO_Init(GPIOC, &GPIO_InitStruct);

	/*Configure GPIO pin : XBEE_RESET_Pin */
	GPIO_InitStruct.Pin = XBEE_RESET_Pin;
	GPIO_InitStruct.Mode = GPIO_MODE_OUTPUT_PP;
	GPIO_InitStruct.Pull = GPIO_NOPULL;
	GPIO_InitStruct.Speed = GPIO_SPEED_FREQ_LOW;
	HAL_GPIO_Init(XBEE_RESET_GPIO_Port, &GPIO_InitStruct);

	/*Configure GPIO pins : RF_SPI1_CSN_Pin LED_Pin */
	GPIO_InitStruct.Pin = RF_SPI1_CSN_Pin | LED_Pin;
	GPIO_InitStruct.Mode = GPIO_MODE_OUTPUT_PP;
	GPIO_InitStruct.Pull = GPIO_NOPULL;
	GPIO_InitStruct.Speed = GPIO_SPEED_FREQ_LOW;
	HAL_GPIO_Init(GPIOA, &GPIO_InitStruct);

	/*Configure GPIO pin : RF_DR_Pin */
	GPIO_InitStruct.Pin = RF_DR_Pin;
	GPIO_InitStruct.Mode = GPIO_MODE_IT_RISING;
	GPIO_InitStruct.Pull = GPIO_NOPULL;
	HAL_GPIO_Init(RF_DR_GPIO_Port, &GPIO_InitStruct);

	/*Configure GPIO pins : RF_CD_Pin RF_uPCLK_Pin GNSS_1PPS_Pin */
	GPIO_InitStruct.Pin = RF_CD_Pin | RF_uPCLK_Pin | GNSS_1PPS_Pin;
	GPIO_InitStruct.Mode = GPIO_MODE_INPUT;
	GPIO_InitStruct.Pull = GPIO_NOPULL;
	HAL_GPIO_Init(GPIOB, &GPIO_InitStruct);

	/*Configure GPIO pins : RF_PWR_UP_Pin RF_TRX_CE_Pin RF_TX_EN_Pin GNSS_FORCE_ON_Pin
	 GNSS_RESET_Pin */
	GPIO_InitStruct.Pin = RF_PWR_UP_Pin | RF_TRX_CE_Pin | RF_TX_EN_Pin
			| GNSS_FORCE_ON_Pin | GNSS_RESET_Pin;
	GPIO_InitStruct.Mode = GPIO_MODE_OUTPUT_PP;
	GPIO_InitStruct.Pull = GPIO_NOPULL;
	GPIO_InitStruct.Speed = GPIO_SPEED_FREQ_LOW;
	HAL_GPIO_Init(GPIOB, &GPIO_InitStruct);

	/* EXTI interrupt init*/
	HAL_NVIC_SetPriority(EXTI4_IRQn, 5, 0);
	HAL_NVIC_EnableIRQ(EXTI4_IRQn);

}

/* USER CODE BEGIN 4 */

/**
 * @brief  Regular conversion complete callback in non blocking mode
 * @param  hadc pointer to a ADC_HandleTypeDef structure that contains
 *         the configuration information for the specified ADC.
 * @retval None
 */
void HAL_ADC_ConvCpltCallback(ADC_HandleTypeDef *hadc) {

	if (ADC1 == hadc->Instance) {

		WcuEventSend(EWcuEventType_AdcConversionComplete, NULL, 0);
	}
}

/**
 * @brief  Rx FIFO 0 message pending callback.
 * @param  hcan pointer to a CAN_HandleTypeDef structure that contains
 *         the configuration information for the specified CAN.
 * @retval None
 */
void HAL_CAN_RxFifo0MsgPendingCallback(CAN_HandleTypeDef *hcan) {

	if (CAN1 == hcan->Instance) {

		WcuCanForwardMessageFromIsrToSwQueue(CAN_RX_FIFO0);
	}
}

/**
 * @brief  Rx FIFO 1 message pending callback.
 * @param  hcan pointer to a CAN_HandleTypeDef structure that contains
 *         the configuration information for the specified CAN.
 * @retval None
 */
void HAL_CAN_RxFifo1MsgPendingCallback(CAN_HandleTypeDef *hcan) {

	if (CAN1 == hcan->Instance) {

		WcuCanForwardMessageFromIsrToSwQueue(CAN_RX_FIFO1);
	}
}

/**
 * @brief  Error CAN callback.
 * @param  hcan pointer to a CAN_HandleTypeDef structure that contains
 *         the configuration information for the specified CAN.
 * @retval None
 */
void HAL_CAN_ErrorCallback(CAN_HandleTypeDef *hcan) {

	if (CAN1 == hcan->Instance) {

		WcuEventSend(EWcuEventType_CanError, NULL, 0);
	}
}

/* USER CODE END 4 */

__weak void WcuEventDispatcherEntryPoint(void const *argument) {
	for (;;) {
	}
}

void HAL_TIM_PeriodElapsedCallback(TIM_HandleTypeDef *htim) {
	if (htim->Instance == TIM6) {
		HAL_IncTick();
	}
	/* USER CODE BEGIN Callback 1 */

	else {

		WcuEventSend(EWcuEventType_TimerExpired, htim, 0);
	}

	/* USER CODE END Callback 1 */
}

void Error_Handler(void) {
}

/************************ (C) COPYRIGHT STMicroelectronics *****END OF FILE****/
